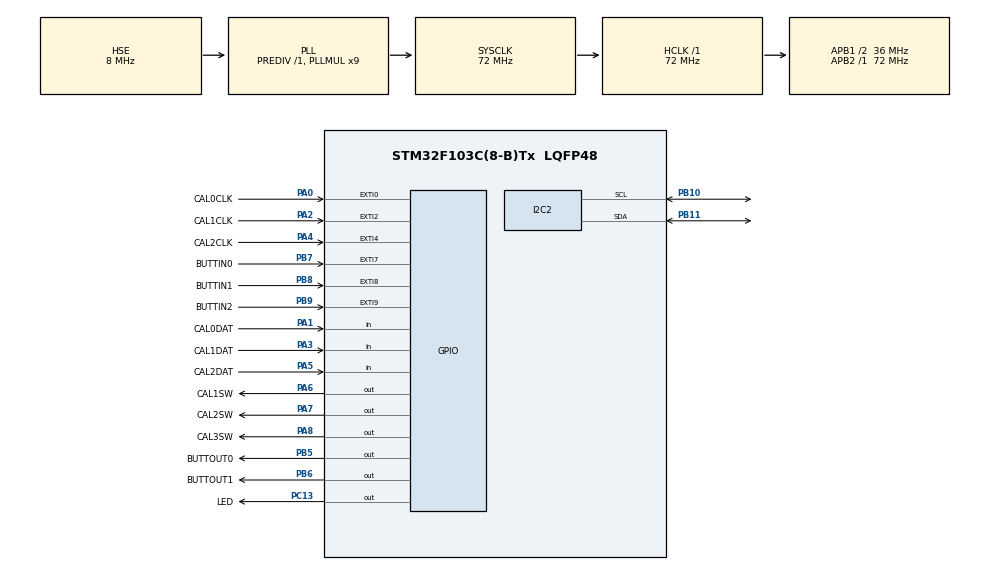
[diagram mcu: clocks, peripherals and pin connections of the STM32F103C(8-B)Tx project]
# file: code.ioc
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I2C2.I2C_Mode=I2C_Fast
Mcu.Family=STM32F1
Mcu.Name=STM32F103C(8-B)Tx
Mcu.Package=LQFP48
NVIC.EXTI0_IRQn=true\:0\:0\:true\:false\:true\:true\:true\:true
NVIC.EXTI2_IRQn=true\:0\:0\:true\:false\:true\:true\:true\:true
NVIC.EXTI4_IRQn=true\:0\:0\:true\:false\:true\:true\:true\:true
NVIC.EXTI9_5_IRQn=true\:0\:0\:false\:false\:true\:true\:true\:true
NVIC.I2C2_ER_IRQn=true\:1\:0\:true\:false\:true\:true\:true\:true
NVIC.I2C2_EV_IRQn=true\:1\:0\:true\:false\:true\:true\:true\:true
NVIC.PriorityGroup=NVIC_PRIORITYGROUP_2
NVIC.TIM2_IRQn=true\:0\:0\:false\:false\:true\:true\:true\:true
PA0-WKUP.GPIO_Label=CAL0CLK
PA0-WKUP.GPIO_ModeDefaultEXTI=GPIO_MODE_IT_FALLING
PA0-WKUP.GPIO_PuPd=GPIO_PULLDOWN
PA0-WKUP.Signal=GPXTI0
PA1.GPIO_Label=CAL0DAT
PA1.GPIO_PuPd=GPIO_PULLDOWN
PA1.Signal=GPIO_Input
PA2.GPIO_Label=CAL1CLK
PA2.GPIO_ModeDefaultEXTI=GPIO_MODE_IT_FALLING
PA2.GPIO_PuPd=GPIO_PULLDOWN
PA2.Signal=GPXTI2
PA3.GPIO_Label=CAL1DAT
PA3.GPIO_PuPd=GPIO_PULLDOWN
PA3.Signal=GPIO_Input
PA4.GPIO_Label=CAL2CLK
PA4.GPIO_ModeDefaultEXTI=GPIO_MODE_IT_FALLING
PA4.GPIO_PuPd=GPIO_PULLDOWN
PA4.Signal=GPXTI4
PA5.GPIO_Label=CAL2DAT
PA5.GPIO_PuPd=GPIO_PULLDOWN
PA5.Signal=GPIO_Input
PA6.GPIO_Label=CAL1SW
PA6.GPIO_PuPd=GPIO_PULLDOWN
PA6.Signal=GPIO_Output
PA7.GPIO_Label=CAL2SW
PA7.GPIO_PuPd=GPIO_PULLDOWN
PA7.Signal=GPIO_Output
PA8.GPIO_Label=CAL3SW
PA8.GPIO_PuPd=GPIO_PULLDOWN
PA8.Signal=GPIO_Output
PB10.GPIO_Pu=GPIO_PULLUP
PB10.Mode=I2C
PB10.Signal=I2C2_SCL
PB11.GPIO_Pu=GPIO_PULLUP
PB11.Mode=I2C
PB11.Signal=I2C2_SDA
PB5.GPIO_Label=BUTTOUT0
PB5.Signal=GPIO_Output
PB6.GPIO_Label=BUTTOUT1
PB6.Signal=GPIO_Output
PB7.GPIO_Label=BUTTIN0
PB7.GPIO_ModeDefaultEXTI=GPIO_MODE_IT_RISING
PB7.GPIO_PuPd=GPIO_PULLDOWN
PB7.Signal=GPXTI7
PB8.GPIO_Label=BUTTIN1
PB8.GPIO_ModeDefaultEXTI=GPIO_MODE_IT_RISING
PB8.GPIO_PuPd=GPIO_PULLDOWN
PB8.Signal=GPXTI8
PB9.GPIO_Label=BUTTIN2
PB9.GPIO_ModeDefaultEXTI=GPIO_MODE_IT_RISING
PB9.GPIO_PuPd=GPIO_PULLDOWN
PB9.Signal=GPXTI9
PC13-TAMPER-RTC.GPIO_Label=LED
PC13-TAMPER-RTC.GPIO_PuPd=GPIO_NOPULL
PC13-TAMPER-RTC.PinState=GPIO_PIN_SET
PC13-TAMPER-RTC.Signal=GPIO_Output
PC14-OSC32_IN.Mode=LSE-External-Oscillator
PC14-OSC32_IN.Signal=RCC_OSC32_IN
PC15-OSC32_OUT.Mode=LSE-External-Oscillator
PC15-OSC32_OUT.Signal=RCC_OSC32_OUT
PD0-OSC_IN.Mode=HSE-External-Oscillator
PD0-OSC_IN.Signal=RCC_OSC_IN
PD1-OSC_OUT.Mode=HSE-External-Oscillator
PD1-OSC_OUT.Signal=RCC_OSC_OUT
ProjectManager.HeapSize=0x200
ProjectManager.StackSize=0x400
ProjectManager.TargetToolchain=CMake
RCC.AHBFreq_Value=72000000
RCC.APB1CLKDivider=RCC_HCLK_DIV2
RCC.APB1Freq_Value=36000000
RCC.APB1TimFreq_Value=72000000
RCC.APB2Freq_Value=72000000
RCC.APB2TimFreq_Value=72000000
RCC.HCLKFreq_Value=72000000
RCC.PLLMUL=RCC_PLL_MUL9
RCC.PLLSourceVirtual=RCC_PLLSOURCE_HSE
RCC.SYSCLKFreq_VALUE=72000000
RCC.SYSCLKSource=RCC_SYSCLKSOURCE_PLLCLK
RCC.USBFreq_Value=72000000
TIM2.AutoReloadPreload=TIM_AUTORELOAD_PRELOAD_DISABLE
TIM2.CounterMode=TIM_COUNTERMODE_UP
TIM2.Period=500
TIM2.Prescaler=7200-1
VP_SYS_VS_ND.Mode=No_Debug
VP_TIM2_VS_ClockSourceINT.Mode=Internal
board=custom

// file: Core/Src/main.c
/* USER CODE BEGIN Header */
/**
  ******************************************************************************
  * @file           : main.c
  * @brief          : Main program body
  ******************************************************************************
  * @attention
  *
  * <h2><center>&copy; Copyright (c) 2020 STMicroelectronics.
  * All rights reserved.</center></h2>
  *
  * This software component is licensed by ST under BSD 3-Clause license,
  * the "License"; You may not use this file except in compliance with the
  * License. You may obtain a copy of the License at:
  *                        opensource.org/licenses/BSD-3-Clause
  *
  ******************************************************************************
  */
/* USER CODE END Header */
#include "main.h"
#include "i2c.h"
#include "tim.h"
#include "gpio.h"

/* USER CODE BEGIN Includes */
#include <stdio.h>
#include "../../DRO/Inc/ssd1306_i2c.h"
#include "../../DRO/Inc/buttons.h"
#include "../../DRO/Inc/calipers.h"
/* USER CODE END Includes */

void SystemClock_Config(void);

int main(void)
{

  /* MCU Configuration--------------------------------------------------------*/

  /* Reset of all peripherals, Initializes the Flash interface and the Systick. */
  HAL_Init();

  /* USER CODE BEGIN Init */
  HAL_PWR_DisableWakeUpPin(PWR_WAKEUP_PIN1);
  /* USER CODE END Init */

  /* Configure the system clock */
  SystemClock_Config();

  /* Initialize all configured peripherals */
  MX_GPIO_Init();
  MX_I2C2_Init();
  MX_TIM2_Init();
  /* USER CODE BEGIN 2 */
  ssd1306_init();
  HAL_Delay(1000);
  ssd1306_clear();
  ssd1306_refresh();
  HAL_GPIO_WritePin(LED_GPIO_Port, LED_Pin, GPIO_PIN_RESET);
  bool changed = false;

  // Disable interrupts to start the calipers staggered
  DisableCaliperInterrupts();
  HAL_GPIO_WritePin(CAL1SW_GPIO_Port, CAL1SW_Pin, GPIO_PIN_SET);
  calipers[0]->last = HAL_GetTick();

  // printf("Started X\n");

  HAL_Delay(30);
  HAL_GPIO_WritePin(CAL2SW_GPIO_Port, CAL2SW_Pin, GPIO_PIN_SET);
  calipers[1]->last = HAL_GetTick();

  // printf("Started Y\n");

  HAL_Delay(30);
  HAL_GPIO_WritePin(CAL3SW_GPIO_Port, CAL3SW_Pin, GPIO_PIN_SET);
  calipers[2]->last = HAL_GetTick();

  // printf("Started Z\n");

  EnableCaliperInterrupts();

  buttons_setup();
  HAL_TIM_Base_Start_IT(&htim2);

  /* USER CODE END 2 */

  /* Infinite loop */
  /* USER CODE BEGIN WHILE */
  while (1)
  {
	  changed = false;
	  for (int i = 0; i < 3; i++)
	  {
		  changed |= ssd1306_drawhmm(i, calipers[i]);
	  }
	  if (changed)
		  ssd1306_refresh();
    /* USER CODE END WHILE */

    /* USER CODE BEGIN 3 */

	  /*
	  pins = HAL_GPIO_ReadPin(GPIOB, BUTTIN0_Pin | BUTTIN1_Pin | BUTTIN2_Pin);
	  poll = button_poll;
	  check_buttons(pins, poll, BUTTIN2_Pin, 0);
	  check_buttons(pins, poll, BUTTIN1_Pin, 1);
	  check_buttons(pins, poll, BUTTIN0_Pin, 2);
	*/
  }
  /* USER CODE END 3 */
}

void SystemClock_Config(void)
{
  RCC_OscInitTypeDef RCC_OscInitStruct = {0};
  RCC_ClkInitTypeDef RCC_ClkInitStruct = {0};

  /** Initializes the RCC Oscillators according to the specified parameters
  * in the RCC_OscInitTypeDef structure.
  */
  RCC_OscInitStruct.OscillatorType = RCC_OSCILLATORTYPE_HSE;
  RCC_OscInitStruct.HSEState = RCC_HSE_ON;
  RCC_OscInitStruct.HSEPredivValue = RCC_HSE_PREDIV_DIV1;
  RCC_OscInitStruct.HSIState = RCC_HSI_ON;
  RCC_OscInitStruct.PLL.PLLState = RCC_PLL_ON;
  RCC_OscInitStruct.PLL.PLLSource = RCC_PLLSOURCE_HSE;
  RCC_OscInitStruct.PLL.PLLMUL = RCC_PLL_MUL9;
  if (HAL_RCC_OscConfig(&RCC_OscInitStruct) != HAL_OK)
  {
    Error_Handler();
  }

  /** Initializes the CPU, AHB and APB buses clocks
  */
  RCC_ClkInitStruct.ClockType = RCC_CLOCKTYPE_HCLK|RCC_CLOCKTYPE_SYSCLK
                              |RCC_CLOCKTYPE_PCLK1|RCC_CLOCKTYPE_PCLK2;
  RCC_ClkInitStruct.SYSCLKSource = RCC_SYSCLKSOURCE_PLLCLK;
  RCC_ClkInitStruct.AHBCLKDivider = RCC_SYSCLK_DIV1;
  RCC_ClkInitStruct.APB1CLKDivider = RCC_HCLK_DIV2;
  RCC_ClkInitStruct.APB2CLKDivider = RCC_HCLK_DIV1;

  if (HAL_RCC_ClockConfig(&RCC_ClkInitStruct, FLASH_LATENCY_2) != HAL_OK)
  {
    Error_Handler();
  }
}

void Error_Handler(void)
{
  /* USER CODE BEGIN Error_Handler_Debug */
  /* User can add his own implementation to report the HAL error return state */
	  HAL_GPIO_WritePin(LED_GPIO_Port, LED_Pin, GPIO_PIN_RESET);
	  HAL_Delay(100);
	  HAL_GPIO_WritePin(LED_GPIO_Port, LED_Pin, GPIO_PIN_SET);
  /* USER CODE END Error_Handler_Debug */
}
